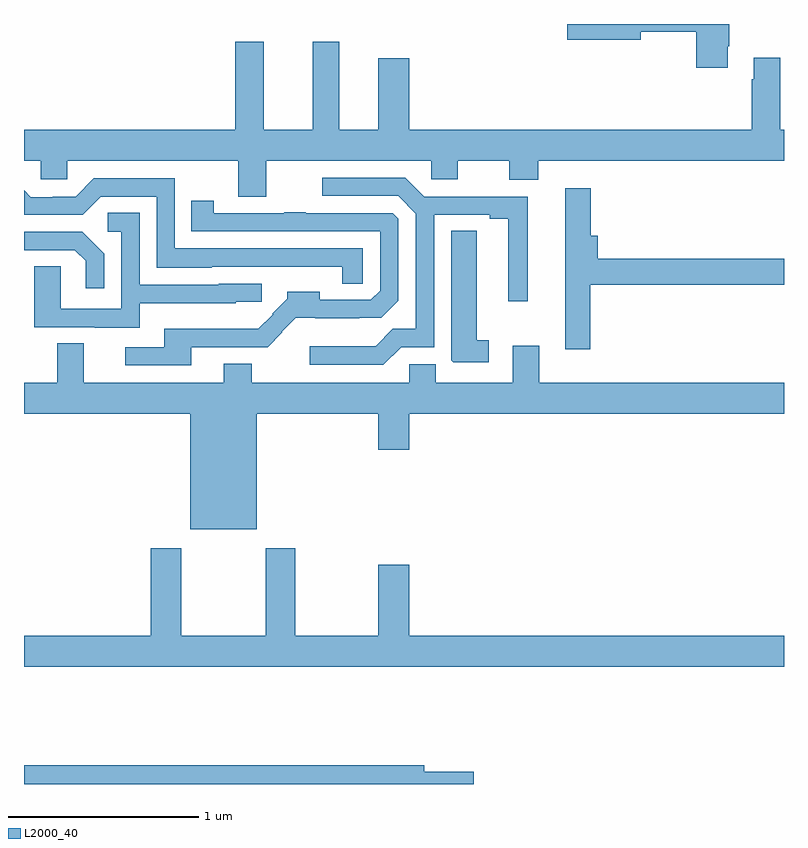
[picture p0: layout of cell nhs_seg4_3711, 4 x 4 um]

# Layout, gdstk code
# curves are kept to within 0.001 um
import gdstk
lib = gdstk.Library(unit=1e-6, precision=1e-09)
def R(c, l, rs):  # rectangles x0, y0, x1, y1
    for r in rs: c.add(gdstk.rectangle(r[:2], r[2:], *l))
def P(c, l, *ps):  # polygons
    for p in ps: c.add(gdstk.Polygon(p, *l))
L2000_40 = (2000, 40)

nhs_seg4_3711 = lib.new_cell('nhs_seg4_3711')
R(nhs_seg4_3711, L2000_40, [(308.309,770.898,308.473,770.9)])
P(nhs_seg4_3711, L2000_40, [(310.705,770.782),(310.713,770.782),(310.713,770.9),(309.858,770.9),(309.858,770.818),(310.246,770.818),(310.246,770.86),(310.538,770.86),(310.538,770.67),(310.705,770.67)],
  [(308.275,770.18),(309.144,770.18),(309.144,770.082),(309.283,770.082),(309.283,770.18),(309.554,770.18),(309.554,770.081),(309.707,770.081),(309.707,770.18),(311,770.18),(311,770.344),(310.981,770.344),(310.981,770.722),(310.841,770.722),(310.841,770.609),(310.829,770.609),(310.829,770.344),(309.028,770.344),(309.028,770.719),(308.864,770.719),(308.864,770.344),(308.659,770.344),(308.659,770.806),(308.519,770.806),(308.519,770.344),(308.263,770.344),(308.263,770.806),(308.111,770.806),(308.111,770.344),(307,770.344),(307,770.18),(307.089,770.18),(307.089,770.082),(307.227,770.082),(307.227,770.18),(308.128,770.18),(308.128,769.99),(308.275,769.99)],
  [(308.985,769.2),(309.159,769.2),(309.159,769.896),(309.452,769.896),(309.452,769.876),(309.548,769.876),(309.548,769.44),(309.652,769.44),(309.652,769.992),(309.106,769.992),(309.007,770.091),(308.571,770.091),(308.571,769.995),(308.97,769.995),(309.063,769.902),(309.063,769.295),(308.942,769.295),(308.851,769.204),(308.505,769.204),(308.505,769.107),(308.892,769.107)],
  [(308.784,769.719),(307.794,769.719),(307.794,770.088),(307.368,770.088),(307.272,769.992),(307.152,769.992),(307.152,769.989),(307.035,769.989),(307,770.024),(307,769.896),(307.308,769.896),(307.404,769.992),(307.698,769.992),(307.698,769.616),(307.989,769.616),(307.989,769.623),(308.676,769.622),(308.676,769.534),(308.784,769.534)],
  [(309.98,769.528),(311,769.528),(311,769.664),(310.019,769.664),(310.019,769.786),(309.983,769.786),(309.983,770.035),(309.848,770.035),(309.848,769.188),(309.98,769.188)],
  [(307.879,769.2),(308.283,769.2),(308.359,769.277),(308.357,769.279),(308.431,769.353),(308.765,769.352),(308.765,769.354),(308.881,769.354),(308.97,769.443),(308.97,769.875),(308.94,769.905),(308.483,769.905),(308.483,769.91),(308.371,769.91),(308.371,769.905),(307.998,769.905),(307.998,769.969),(307.879,769.969),(307.879,769.809),(308.874,769.809),(308.874,769.497),(308.826,769.449),(308.557,769.449),(308.557,769.492),(308.386,769.492),(308.386,769.453),(308.307,769.374),(308.31,769.371),(308.234,769.295),(308.132,769.295),(308.132,769.297),(307.739,769.297),(307.739,769.2),(307.533,769.2),(307.533,769.104),(307.879,769.104)],
  [(307.609,769.43),(308.115,769.43),(308.115,769.437),(308.25,769.437),(308.25,769.533),(308.025,769.533),(308.025,769.527),(307.608,769.527),(307.608,769.907),(307.44,769.907),(307.44,769.806),(307.512,769.806),(307.512,769.401),(307.194,769.401),(307.194,769.625),(307.055,769.625),(307.055,769.305),(307.373,769.305),(307.373,769.301),(307.609,769.301)],
  [(309.445,769.235),(309.382,769.235),(309.382,769.811),(309.248,769.811),(309.248,769.129),(309.258,769.119),(309.445,769.119)],
  [(307.422,769.69),(307.306,769.806),(307,769.806),(307,769.71),(307.268,769.71),(307.325,769.653),(307.325,769.509),(307.422,769.509)],
  [(308.224,768.848),(308.864,768.848),(308.864,768.66),(309.028,768.66),(309.028,768.848),(311,768.848),(311,769.012),(309.712,769.012),(309.712,769.207),(309.572,769.207),(309.572,769.012),(309.166,769.012),(309.166,769.11),(309.027,769.11),(309.027,769.012),(308.199,769.012),(308.199,769.111),(308.051,769.111),(308.051,769.012),(307.315,769.012),(307.315,769.22),(307.175,769.22),(307.175,769.012),(307,769.012),(307,768.848),(307.874,768.848),(307.874,768.242),(308.224,768.242)],
  [(311,767.68),(309.028,767.68),(309.028,768.055),(308.864,768.055),(308.864,767.68),(308.427,767.68),(308.427,768.142),(308.272,768.142),(308.272,767.68),(307.827,767.68),(307.827,768.142),(307.667,768.142),(307.667,767.68),(307,767.68),(307,767.516),(311,767.516)],
  [(309.367,766.964),(309.106,766.964),(309.106,767),(307,767),(307,766.9),(309.367,766.9)])

lib.write_gds('nhs_seg4_3711.gds')
